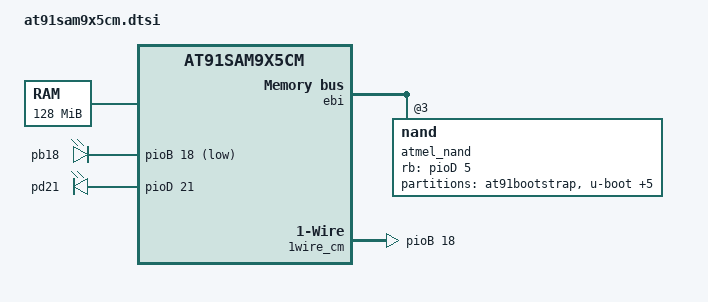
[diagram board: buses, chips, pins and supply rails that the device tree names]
// SPDX-License-Identifier: GPL-2.0-or-later
/*
 * at91sam9x5cm.dtsi - Device Tree Include file for AT91SAM9x5 CPU Module
 *
 *  Copyright (C) 2012 Atmel,
 *                2012 Nicolas Ferre <nicolas.ferre@atmel.com>
 */

/ {
	memory@20000000 {
		reg = <0x20000000 0x8000000>;
	};

	clocks {
		slow_xtal {
			clock-frequency = <32768>;
		};

		main_xtal {
			clock-frequency = <12000000>;
		};
	};

	ahb {
		apb {
			tcb0: timer@f8008000 {
				timer@0 {
					compatible = "atmel,tcb-timer";
					reg = <0>;
				};

				timer@1 {
					compatible = "atmel,tcb-timer";
					reg = <1>;
				};
			};

			pinctrl@fffff400 {
				1wire_cm {
					pinctrl_1wire_cm: 1wire_cm-0 {
						atmel,pins = <AT91_PIOB 18 AT91_PERIPH_GPIO AT91_PINCTRL_MULTI_DRIVE>; /* PB18 multidrive, conflicts with led */
					};
				};
			};

			rtc@fffffeb0 {
				status = "okay";
			};
		};

		ebi: ebi@10000000 {
			pinctrl-0 = <&pinctrl_ebi_addr_nand
				     &pinctrl_ebi_data_0_7>;
			pinctrl-names = "default";
			status = "okay";

			nand_controller: nand-controller {
				status = "okay";
				pinctrl-0 = <&pinctrl_nand_oe_we
					     &pinctrl_nand_cs
					     &pinctrl_nand_rb>;
				pinctrl-names = "default";

				nand@3 {
					reg = <0x3 0x0 0x800000>;
					rb-gpios = <&pioD 5 GPIO_ACTIVE_HIGH>;
					cs-gpios = <&pioD 4 GPIO_ACTIVE_HIGH>;
					nand-bus-width = <8>;
					nand-ecc-mode = "hw";
					nand-ecc-strength = <2>;
					nand-ecc-step-size = <512>;
					nand-on-flash-bbt;
					label = "atmel_nand";

					partitions {
						compatible = "fixed-partitions";
						#address-cells = <1>;
						#size-cells = <1>;

						at91bootstrap@0 {
							label = "at91bootstrap";
							reg = <0x0 0x40000>;
						};

						uboot@40000 {
							label = "u-boot";
							reg = <0x40000 0xc0000>;
						};

						ubootenvred@100000 {
							label = "U-Boot Env Redundant";
							reg = <0x100000 0x40000>;
						};

						ubootenv@140000 {
							label = "U-Boot Env";
							reg = <0x140000 0x40000>;
						};

						dtb@180000 {
							label = "device tree";
							reg = <0x180000 0x80000>;
						};

						kernel@200000 {
							label = "kernel";
							reg = <0x200000 0x600000>;
						};

						rootfs@800000 {
							label = "rootfs";
							reg = <0x800000 0x0f800000>;
						};
					};
				};
			};
		};
	};

	leds {
		compatible = "gpio-leds";

		pb18 {
			label = "pb18";
			gpios = <&pioB 18 GPIO_ACTIVE_LOW>;
			linux,default-trigger = "heartbeat";
		};

		pd21 {
			label = "pd21";
			gpios = <&pioD 21 GPIO_ACTIVE_HIGH>;
		};
	};

	1wire_cm {
		compatible = "w1-gpio";
		gpios = <&pioB 18 GPIO_ACTIVE_HIGH>;
		linux,open-drain;
		pinctrl-names = "default";
		pinctrl-0 = <&pinctrl_1wire_cm>;
		status = "okay";
	};

};
